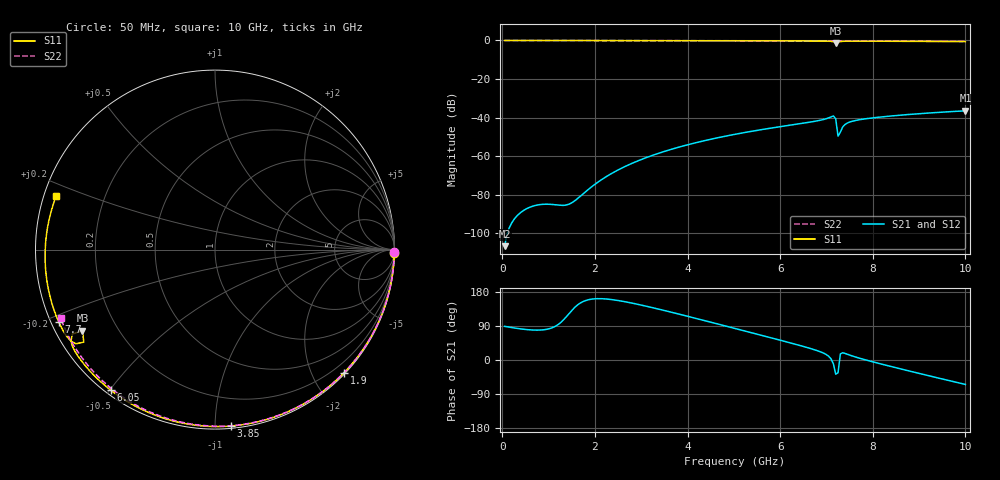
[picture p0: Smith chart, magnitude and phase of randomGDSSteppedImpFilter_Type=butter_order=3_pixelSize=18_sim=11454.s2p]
! freq	dB(S11)	phase(S11)	dB(S12)	phase(S12)
!  dB(S21)	phase(S21)	dB(S22)	phase(S22)
!S-par simulation data
#  GHz  S  DB  R 50
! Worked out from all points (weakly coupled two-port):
!   200 points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, 50 MHz to 10 GHz, reference 50 ohm
!   highest |S21| = -36.51 dB at 10 GHz (marker M1); lowest = -106.7 dB at 50 MHz (marker M2)
!   lowest |S11| = -1.2 dB at 7.2 GHz (marker M3), VSWR 13.94, Z = 3.87 - j14 ohm
!   |S11| at or under -10 dB: nowhere
!   |S22| runs from -0.5 to 0.0 dB; largest |S21 - S12| = 0
!   S11 on the Smith chart (normalised r, x): 50 MHz: open; 1.9 GHz: 0.02, -2.50; 3.85 GHz: 0.01, -1.09; 6.05 GHz: 0.02, -0.50; 7.7 GHz: 0.02, -0.22; 10 GHz: 0.04, +0.16
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0.05  -0.00 -1.1  -106.71 88.9  -106.71 88.9  -0.00 -0.9
0.85  -0.03 -19.8  -85.04 79.3  -85.04 79.3  -0.02 -15.3
1.7  -0.05 -39.2  -80.52 151.4  -80.52 151.4  -0.04 -30.3
1.75  -0.05 -40.3  -79.48 154.5  -79.48 154.5  -0.04 -31.2
1.9  -0.06 -43.7  -76.48 160.1  -76.48 160.1  -0.04 -33.8
2.2  -0.06 -50.3  -71.32 161.4  -71.32 161.4  -0.05 -39.0
2.55  -0.07 -57.9  -66.57 156.0  -66.57 156.0  -0.06 -44.9
3.4  -0.10 -75.7  -58.33 133.6  -58.33 133.6  -0.08 -59.1
3.85  -0.11 -84.8  -55.10 120.0  -55.10 120.0  -0.09 -66.4
5.05  -0.16 -108.1  -48.57 82.5  -48.57 82.5  -0.13 -85.2
6.05  -0.22 -126.6  -44.54 50.7  -44.54 50.7  -0.18 -100.2
6.7  -0.27 -138.7  -42.14 28.7  -42.14 28.7  -0.21 -109.6
7  -0.33 -144.9  -40.57 14.1  -40.57 14.1  -0.23 -113.9
7.15  -0.70 -149.4  -39.16 -10.2  -39.16 -10.2  -0.24 -116.1
7.2  -1.25 -148.5  -40.69 -37.5  -40.69 -37.5  -0.25 -116.8
7.25  -0.97 -144.8  -49.65 -33.7  -49.65 -33.7  -0.26 -117.4
7.35  -0.45 -147.4  -44.87 19.2  -44.87 19.2  -0.26 -118.8
7.4  -0.40 -148.8  -43.60 17.4  -43.60 17.4  -0.26 -119.6
7.7  -0.36 -155.1  -41.17 5.2  -41.17 5.2  -0.29 -123.8
8.35  -0.41 -167.2  -39.29 -15.8  -39.29 -15.8  -0.34 -132.9
9.2  -0.50 176.9  -37.66 -41.3  -37.66 -41.3  -0.43 -144.7
10  -0.60 161.4  -36.51 -64.5  -36.51 -64.5  -0.52 -156.0
